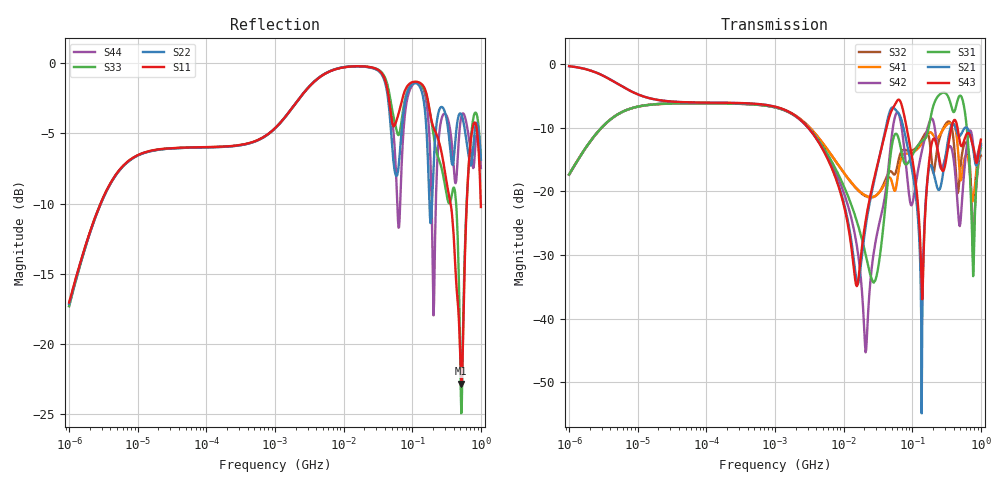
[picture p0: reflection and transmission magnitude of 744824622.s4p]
! This data is being provided by Wuerth Elektronik eiSos GmbH & Co. KG to the industry for analysis.
! Document information:
! Version:rev20a Date: 26/02/2020
! Component information:
! Match Code: WE-CMB P/N: 744824622 Size: Type L
! Disclaimer:  While Würth Elektronik eiSos has made every reasonable effort to ensure the accuracy
! of the information provided, Würth Elektronik eiSos does not guarantee the exemption of error on the
! data collection measurements, nor does Würth Elektronik eiSos guarantee that the information is current.
! Würth Elektronik eiSos reserves the right to make any adjustments at any time without notice.
! Würth Elektronik eiSos expressly disclaims all implied warranties regarding this measurement data collection.
! Note 1  This data measurement is representative according to the product implementation into the fixture.
! Component behavior is sensitive to implementation into the fixture, which includes board
! materials, trace geometry information, connector pin out, layer connection, use of de-embedding
! techniques, etc.
! Note 2 - The fixture was designed specifically to match the 50 Ohm line impedance, as well as the connector impedance,
! in order to accomplish a reliable measurement without reflections in the trace. Any other implementation of the fixture will change the obtained
! measurement performance. The used fixture behavior was de-embedded to accomplish reliable measurement results.
! The test setup consisted of the following:
!  - Agilent VNA N5242B or E5080A
!  - Calibrations are SOLT (short open load thru)
!  - De-embedding of the SMA's or line cards were included
!  - Equipment Settings -
!  - Sampling - 801 points
!  - IF BW  0.5 kHz
!  - Averaging  Not used
!  Port 1----->|4|@@@@@|3| -----> Port 2
!  Port 3----->|1|@@@@@|2| -----> Port 4
!*VNA Port --> |Port in Datasheet|
! |Port in Datasheet| --> VNA Port
! For further information regarding this testing, please contact
! Wuerth Elektronik eiSos
! Contact: EDA team in QDC
! Email: libraries@we-online.com or libraries@we-online.de
# Hz S  RI  R 50
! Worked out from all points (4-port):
!   801 points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, 1 kHz to 1 GHz, reference 50 ohm
!   strongest paths, dB at 1 kHz, 31.62 kHz, 1 MHz, 31.62 MHz, 1 GHz:
!     S43: -0.3, -5.9, -6.7, -15.5, -11.9
!     S21: -0.3, -5.9, -6.7, -15.7, -12.5
!     S31: -17.3, -6.2, -6.8, -32.2, -13.2
!     S42: -17.4, -6.2, -6.8, -26.0, -12.8
!     S41: -17.3, -6.2, -6.8, -20.4, -12.5
!     S32: -17.4, -6.2, -6.7, -20.4, -14.4
!   lowest |S11| = -22.8 dB at 518.8 MHz (marker M1), VSWR 1.16, Z = 57.5 - j1.99 ohm
!   |S11| at or under -10 dB: start of sweep to 2.868 kHz; 361.8 MHz to 622.8 MHz (261.1 MHz wide, 53 % of centre); 996.3545 MHz to end of sweep
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1000  0.0436 0.1333  0.958 -0.1324  0.0389 0.1295  -0.0388 -0.1302
      0.9573 -0.1327  0.0419 0.1321  -0.0387 -0.1296  0.0389 0.1302
      0.0389 0.1302  -0.0388 -0.1298  0.0428 0.1292  0.958 -0.1299
      -0.0389 -0.1302  0.0389 0.1299  0.9575 -0.1293  0.0427 0.1294
1678804  0.6457 0.2162  0.3536 -0.2203  0.3465 -0.2255  -0.3459 0.2313
         0.3533 -0.2202  0.6458 0.215  -0.3459 0.2313  0.3455 -0.2246
         0.3465 -0.2255  -0.3461 0.2314  0.6456 0.2159  0.3537 -0.2203
         -0.3458 0.2312  0.3457 -0.2247  0.3536 -0.2203  0.6456 0.2151
2.089296e7  0.9682 -0.1138  0.0238 0.0468  -0.00996 -0.0303  0.0159 0.0915
            0.0238 0.0469  0.9619 -0.1438  0.0157 0.0904  -0.00538 -0.000659
            -0.0101 -0.0303  0.0157 0.0904  0.967 -0.1223  0.0238 0.0533
            0.016 0.0915  -0.00539 -0.000639  0.0238 0.0533  0.9615 -0.1503
5.991009e7  0.6268 -0.0886  0.404 -0.1374  0.0694 0.2721  -0.1026 -0.0601
            0.4037 -0.1374  0.3945 -0.0524  -0.1256 -0.0886  0.3137 0.2741
            0.0694 0.2721  -0.1256 -0.0886  0.5368 -0.1896  0.5153 -0.0129
            -0.1026 -0.0601  0.3137 0.2743  0.5152 -0.0127  0.2635 -0.2083
1.372461e8  0.7279 -0.4258  0.000787 -0.00155  0.1306 0.2104  0.1297 0.198
            0.000867 -0.00157  0.6975 -0.3823  0.1587 0.2006  0.1266 0.1611
            0.1305 0.2103  0.1586 0.2006  0.7126 -0.4377  -0.016 -0.00654
            0.1296 0.1979  0.1266 0.1611  -0.016 -0.00655  0.7471 -0.3642
5.188e8  0.0699 -0.0172  0.2108 0.1899  0.4731 -0.2963  0.1172 -0.0404
         0.2108 0.1898  0.5811 -0.3068  0.1778 0.0239  0.0412 0.0564
         0.4724 -0.2958  0.1777 0.024  0.0512 -0.0238  0.1923 0.1204
         0.1171 -0.0405  0.0411 0.0564  0.1923 0.1206  0.6254 -0.1595
1e9  0.1994 -0.2338  0.2177 0.0927  0.2004 0.087  0.2255 -0.0716
     0.2176 0.0926  0.2949 -0.345  0.1909 -0.0135  0.192 0.1242
     0.2003 0.0873  0.1909 -0.0131  0.3033 -0.3363  0.2432 0.078
     0.2256 -0.0712  0.1917 0.1243  0.2432 0.0782  0.2841 -0.3139
